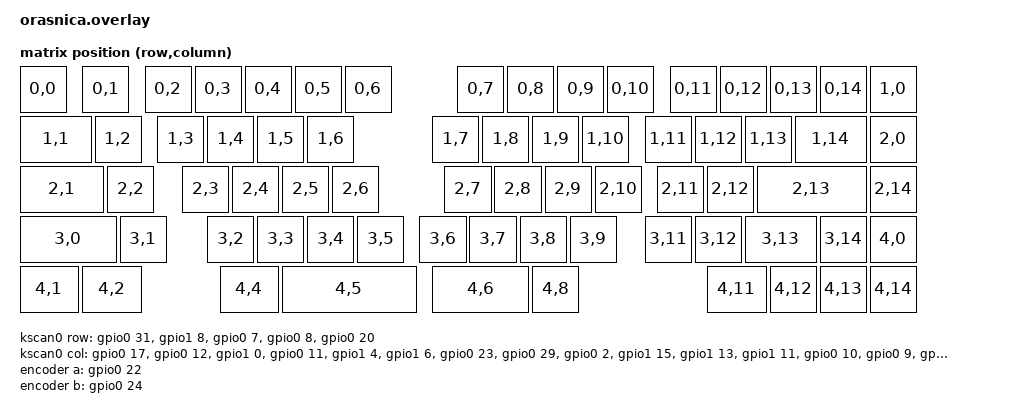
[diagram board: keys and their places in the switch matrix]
#include <dt-bindings/zmk/matrix_transform.h>
#include <physical_layouts.dtsi>

/ {
    chosen {
        zmk,physical-layout = &physical_layout0;
    };

    physical_layout0: physical_layout_0 {
        compatible = "zmk,physical-layout";
        display-name = "Default Layout";
        kscan = <&kscan0>;
        transform = <&default_transform>;
	keys  //                      w   h x y rot rx ry
        = <&key_physical_attrs 100 100    0    0       0     0     0>
        , <&key_physical_attrs 100 100  125    0       0     0     0>
        , <&key_physical_attrs 100 100  250    0       0     0     0>
        , <&key_physical_attrs 100 100  350    0       0     0     0>
        , <&key_physical_attrs 100 100  450    0       0     0     0>
        , <&key_physical_attrs 100 100  550    0       0     0     0>
        , <&key_physical_attrs 100 100  650    0       0     0     0>
        , <&key_physical_attrs 100 100  875    0       0     0     0>
        , <&key_physical_attrs 100 100  975    0       0     0     0>
        , <&key_physical_attrs 100 100 1075    0       0     0     0>
        , <&key_physical_attrs 100 100 1175    0       0     0     0>
        , <&key_physical_attrs 100 100 1300    0       0     0     0>
        , <&key_physical_attrs 100 100 1400    0       0     0     0>
        , <&key_physical_attrs 100 100 1500    0       0     0     0>
        , <&key_physical_attrs 100 100 1600    0       0     0     0>
        , <&key_physical_attrs 100 100 1700    0       0     0     0>
        , <&key_physical_attrs 150 100    0  100       0     0     0>
        , <&key_physical_attrs 100 100  150  100       0     0     0>
        , <&key_physical_attrs 100 100  275  100       0     0     0>
        , <&key_physical_attrs 100 100  375  100       0     0     0>
        , <&key_physical_attrs 100 100  475  100       0     0     0>
        , <&key_physical_attrs 100 100  575  100       0     0     0>
        , <&key_physical_attrs 100 100  825  100       0     0     0>
        , <&key_physical_attrs 100 100  925  100       0     0     0>
        , <&key_physical_attrs 100 100 1025  100       0     0     0>
        , <&key_physical_attrs 100 100 1125  100       0     0     0>
        , <&key_physical_attrs 100 100 1250  100       0     0     0>
        , <&key_physical_attrs 100 100 1350  100       0     0     0>
        , <&key_physical_attrs 100 100 1450  100       0     0     0>
        , <&key_physical_attrs 150 100 1550  100       0     0     0>
        , <&key_physical_attrs 100 100 1700  100       0     0     0>
        , <&key_physical_attrs 175 100    0  200       0     0     0>
        , <&key_physical_attrs 100 100  175  200       0     0     0>
        , <&key_physical_attrs 100 100  325  200       0     0     0>
        , <&key_physical_attrs 100 100  425  200       0     0     0>
        , <&key_physical_attrs 100 100  525  200       0     0     0>
        , <&key_physical_attrs 100 100  625  200       0     0     0>
        , <&key_physical_attrs 100 100  850  200       0     0     0>
        , <&key_physical_attrs 100 100  950  200       0     0     0>
        , <&key_physical_attrs 100 100 1050  200       0     0     0>
        , <&key_physical_attrs 100 100 1150  200       0     0     0>
        , <&key_physical_attrs 100 100 1275  200       0     0     0>
        , <&key_physical_attrs 100 100 1375  200       0     0     0>
        , <&key_physical_attrs 225 100 1475  200       0     0     0>
        , <&key_physical_attrs 100 100 1700  200       0     0     0>
        , <&key_physical_attrs 200 100    0  300       0     0     0>
        , <&key_physical_attrs 100 100  200  300       0     0     0>
        , <&key_physical_attrs 100 100  375  300       0     0     0>
        , <&key_physical_attrs 100 100  475  300       0     0     0>
        , <&key_physical_attrs 100 100  575  300       0     0     0>
        , <&key_physical_attrs 100 100  675  300       0     0     0>
        , <&key_physical_attrs 100 100  800  300       0     0     0>
        , <&key_physical_attrs 100 100  900  300       0     0     0>
        , <&key_physical_attrs 100 100 1000  300       0     0     0>
        , <&key_physical_attrs 100 100 1100  300       0     0     0>
        , <&key_physical_attrs 100 100 1250  300       0     0     0>
        , <&key_physical_attrs 100 100 1350  300       0     0     0>
        , <&key_physical_attrs 150 100 1450  300       0     0     0>
        , <&key_physical_attrs 100 100 1600  300       0     0     0>
        , <&key_physical_attrs 100 100 1700  300       0     0     0>
        , <&key_physical_attrs 125 100    0  400       0     0     0>
        , <&key_physical_attrs 125 100  125  400       0     0     0>
        , <&key_physical_attrs 125 100  400  400       0     0     0>
        , <&key_physical_attrs 275 100  525  400       0     0     0>
        , <&key_physical_attrs 200 100  825  400       0     0     0>
        , <&key_physical_attrs 100 100 1025  400       0     0     0>
        , <&key_physical_attrs 125 100 1375  400       0     0     0>
        , <&key_physical_attrs 100 100 1500  400       0     0     0>
        , <&key_physical_attrs 100 100 1600  400       0     0     0>
        , <&key_physical_attrs 100 100 1700  400       0     0     0>
	    ;
    };

    default_transform: keymap_transform0 {
        compatible = "zmk,matrix-transform";
		rows = <5>;
		columns = <15>;
        map = <
			RC(0,0) RC(0,1) RC(0,2) RC(0,3) RC(0,4) RC(0,5) RC(0,6) RC(0,7) RC(0,8) RC(0,9) RC(0,10) RC(0,11) RC(0,12) RC(0,13) RC(0,14)
			RC(1,0) RC(1,1) RC(1,2) RC(1,3) RC(1,4) RC(1,5) RC(1,6) RC(1,7) RC(1,8) RC(1,9) RC(1,10) RC(1,11) RC(1,12) RC(1,13) RC(1,14)
			RC(2,0) RC(2,1) RC(2,2) RC(2,3) RC(2,4) RC(2,5) RC(2,6) RC(2,7) RC(2,8) RC(2,9) RC(2,10) RC(2,11) RC(2,12) RC(2,13) RC(2,14)
			RC(3,0) RC(3,1) RC(3,2) RC(3,3) RC(3,4) RC(3,5) RC(3,6) RC(3,7) RC(3,8) RC(3,9)          RC(3,11) RC(3,12) RC(3,13) RC(3,14)
			RC(4,0) RC(4,1) RC(4,2)         RC(4,4) RC(4,5) RC(4,6)         RC(4,8)                  RC(4,11) RC(4,12) RC(4,13) RC(4,14)
        >;
    };

    kscan0: kscan0 {
        compatible = "zmk,kscan-gpio-matrix";
        diode-direction = "col2row";
        col-gpios
            = <&gpio0    17 GPIO_ACTIVE_HIGH>
            , <&gpio0    12 GPIO_ACTIVE_HIGH>
            , <&gpio1     0 GPIO_ACTIVE_HIGH>
            , <&gpio0    11 GPIO_ACTIVE_HIGH>
            , <&gpio1     4 GPIO_ACTIVE_HIGH>
            , <&gpio1     6 GPIO_ACTIVE_HIGH>
            , <&gpio0    23 GPIO_ACTIVE_HIGH>
            , <&gpio0    29 GPIO_ACTIVE_HIGH>
            , <&gpio0     2 GPIO_ACTIVE_HIGH>
            , <&gpio1    15 GPIO_ACTIVE_HIGH>
            , <&gpio1    13 GPIO_ACTIVE_HIGH>
            , <&gpio1    11 GPIO_ACTIVE_HIGH>
            , <&gpio0    10 GPIO_ACTIVE_HIGH>
            , <&gpio0     9 GPIO_ACTIVE_HIGH>
            , <&gpio0    21 GPIO_ACTIVE_HIGH>
            ;
        row-gpios
            = <&gpio0    31 (GPIO_ACTIVE_HIGH | GPIO_PULL_DOWN)>
            , <&gpio1     8 (GPIO_ACTIVE_HIGH | GPIO_PULL_DOWN)>
            , <&gpio0     7 (GPIO_ACTIVE_HIGH | GPIO_PULL_DOWN)>
            , <&gpio0     8 (GPIO_ACTIVE_HIGH | GPIO_PULL_DOWN)>
            , <&gpio0    20 (GPIO_ACTIVE_HIGH | GPIO_PULL_DOWN)>
            ;
    };

  encoder: encoder {
        compatible = "alps,ec11";
        label = "ENCODER";
        a-gpios = <&gpio0 22 (GPIO_ACTIVE_HIGH | GPIO_PULL_UP)>;
        b-gpios = <&gpio0 24 (GPIO_ACTIVE_HIGH | GPIO_PULL_UP)>;
        resolution = <2>;
    };

    sensors {
    	compatible = "zmk,keymap-sensors";
        sensors = <&encoder>;
    };
};
